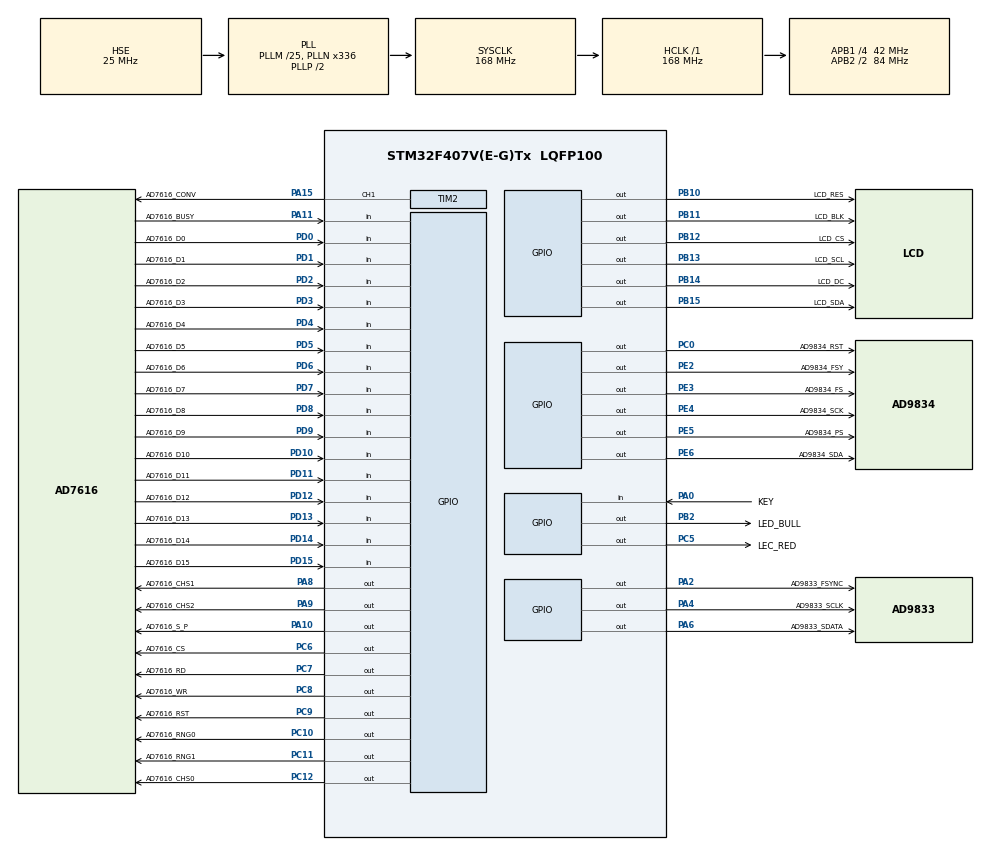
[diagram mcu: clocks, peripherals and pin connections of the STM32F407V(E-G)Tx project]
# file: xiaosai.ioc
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Mcu.Family=STM32F4
Mcu.Name=STM32F407V(E-G)Tx
Mcu.Package=LQFP100
NVIC.PriorityGroup=NVIC_PRIORITYGROUP_4
NVIC.TIM2_IRQn=true\:0\:0\:false\:false\:true\:true\:true\:true
PA0-WKUP.GPIO_Label=KEY
PA0-WKUP.Signal=GPIO_Input
PA10.GPIO_Label=AD7616_S_P
PA10.GPIO_Speed=GPIO_SPEED_FREQ_VERY_HIGH
PA10.Signal=GPIO_Output
PA11.GPIO_Label=AD7616_BUSY
PA11.Signal=GPIO_Input
PA13.Mode=Serial_Wire
PA13.Signal=SYS_JTMS-SWDIO
PA14.Mode=Serial_Wire
PA14.Signal=SYS_JTCK-SWCLK
PA15.GPIO_Label=AD7616_CONV
PA15.Signal=S_TIM2_CH1_ETR
PA2.GPIO_Label=AD9833_FSYNC
PA2.GPIO_Speed=GPIO_SPEED_FREQ_VERY_HIGH
PA2.Signal=GPIO_Output
PA4.GPIO_Label=AD9833_SCLK
PA4.GPIO_Speed=GPIO_SPEED_FREQ_VERY_HIGH
PA4.Signal=GPIO_Output
PA6.GPIO_Label=AD9833_SDATA
PA6.GPIO_Speed=GPIO_SPEED_FREQ_VERY_HIGH
PA6.Signal=GPIO_Output
PA8.GPIO_Label=AD7616_CHS1
PA8.GPIO_Speed=GPIO_SPEED_FREQ_VERY_HIGH
PA8.Signal=GPIO_Output
PA9.GPIO_Label=AD7616_CHS2
PA9.GPIO_Speed=GPIO_SPEED_FREQ_VERY_HIGH
PA9.Signal=GPIO_Output
PB10.GPIO_Label=LCD_RES
PB10.GPIO_Speed=GPIO_SPEED_FREQ_VERY_HIGH
PB10.Signal=GPIO_Output
PB11.GPIO_Label=LCD_BLK
PB11.GPIO_Speed=GPIO_SPEED_FREQ_VERY_HIGH
PB11.Signal=GPIO_Output
PB12.GPIO_Label=LCD_CS
PB12.GPIO_Speed=GPIO_SPEED_FREQ_VERY_HIGH
PB12.Signal=GPIO_Output
PB13.GPIO_Label=LCD_SCL
PB13.GPIO_Speed=GPIO_SPEED_FREQ_VERY_HIGH
PB13.Signal=GPIO_Output
PB14.GPIO_Label=LCD_DC
PB14.GPIO_Speed=GPIO_SPEED_FREQ_VERY_HIGH
PB14.Signal=GPIO_Output
PB15.GPIO_Label=LCD_SDA
PB15.GPIO_Speed=GPIO_SPEED_FREQ_VERY_HIGH
PB15.Signal=GPIO_Output
PB2.GPIO_Label=LED_BULL
PB2.GPIO_Speed=GPIO_SPEED_FREQ_VERY_HIGH
PB2.Signal=GPIO_Output
PC0.GPIO_Label=AD9834_RST
PC0.GPIO_Speed=GPIO_SPEED_FREQ_VERY_HIGH
PC0.Signal=GPIO_Output
PC10.GPIO_Label=AD7616_RNG0
PC10.GPIO_Speed=GPIO_SPEED_FREQ_VERY_HIGH
PC10.Signal=GPIO_Output
PC11.GPIO_Label=AD7616_RNG1
PC11.GPIO_Speed=GPIO_SPEED_FREQ_VERY_HIGH
PC11.Signal=GPIO_Output
PC12.GPIO_Label=AD7616_CHS0
PC12.GPIO_Speed=GPIO_SPEED_FREQ_VERY_HIGH
PC12.Signal=GPIO_Output
PC5.GPIO_Label=LEC_RED
PC5.GPIO_Speed=GPIO_SPEED_FREQ_VERY_HIGH
PC5.Signal=GPIO_Output
PC6.GPIO_Label=AD7616_CS
PC6.GPIO_Speed=GPIO_SPEED_FREQ_VERY_HIGH
PC6.Signal=GPIO_Output
PC7.GPIO_Label=AD7616_RD
PC7.GPIO_Speed=GPIO_SPEED_FREQ_VERY_HIGH
PC7.Signal=GPIO_Output
PC8.GPIO_Label=AD7616_WR
PC8.GPIO_Speed=GPIO_SPEED_FREQ_VERY_HIGH
PC8.Signal=GPIO_Output
PC9.GPIO_Label=AD7616_RST
PC9.GPIO_Speed=GPIO_SPEED_FREQ_VERY_HIGH
PC9.Signal=GPIO_Output
PD0.GPIO_Label=AD7616_D0
PD0.Signal=GPIO_Input
PD1.GPIO_Label=AD7616_D1
PD1.Signal=GPIO_Input
PD10.GPIO_Label=AD7616_D10
PD10.Signal=GPIO_Input
PD11.GPIO_Label=AD7616_D11
PD11.Signal=GPIO_Input
PD12.GPIO_Label=AD7616_D12
PD12.Signal=GPIO_Input
PD13.GPIO_Label=AD7616_D13
PD13.Signal=GPIO_Input
PD14.GPIO_Label=AD7616_D14
PD14.Signal=GPIO_Input
PD15.GPIO_Label=AD7616_D15
PD15.Signal=GPIO_Input
PD2.GPIO_Label=AD7616_D2
PD2.Signal=GPIO_Input
PD3.GPIO_Label=AD7616_D3
PD3.Signal=GPIO_Input
PD4.GPIO_Label=AD7616_D4
PD4.Signal=GPIO_Input
PD5.GPIO_Label=AD7616_D5
PD5.Signal=GPIO_Input
PD6.GPIO_Label=AD7616_D6
PD6.Signal=GPIO_Input
PD7.GPIO_Label=AD7616_D7
PD7.Signal=GPIO_Input
PD8.GPIO_Label=AD7616_D8
PD8.Signal=GPIO_Input
PD9.GPIO_Label=AD7616_D9
PD9.Signal=GPIO_Input
PE2.GPIO_Label=AD9834_FSY
PE2.GPIO_Speed=GPIO_SPEED_FREQ_VERY_HIGH
PE2.Signal=GPIO_Output
PE3.GPIO_Label=AD9834_FS
PE3.GPIO_Speed=GPIO_SPEED_FREQ_VERY_HIGH
PE3.Signal=GPIO_Output
PE4.GPIO_Label=AD9834_SCK
PE4.GPIO_Speed=GPIO_SPEED_FREQ_VERY_HIGH
PE4.Signal=GPIO_Output
PE5.GPIO_Label=AD9834_PS
PE5.GPIO_Speed=GPIO_SPEED_FREQ_VERY_HIGH
PE5.Signal=GPIO_Output
PE6.GPIO_Label=AD9834_SDA
PE6.GPIO_Speed=GPIO_SPEED_FREQ_VERY_HIGH
PE6.Signal=GPIO_Output
PH0-OSC_IN.Mode=HSE-External-Oscillator
PH0-OSC_IN.Signal=RCC_OSC_IN
PH1-OSC_OUT.Mode=HSE-External-Oscillator
PH1-OSC_OUT.Signal=RCC_OSC_OUT
ProjectManager.HeapSize=0x200
ProjectManager.StackSize=0x400
ProjectManager.TargetToolchain=CMake
RCC.48MHZClocksFreq_Value=84000000
RCC.AHBFreq_Value=168000000
RCC.APB1CLKDivider=RCC_HCLK_DIV4
RCC.APB1Freq_Value=42000000
RCC.APB1TimFreq_Value=84000000
RCC.APB2CLKDivider=RCC_HCLK_DIV2
RCC.APB2Freq_Value=84000000
RCC.APB2TimFreq_Value=168000000
RCC.CortexFreq_Value=168000000
RCC.HCLKFreq_Value=168000000
RCC.HSE_VALUE=25000000
RCC.HSI_VALUE=16000000
RCC.LSE_VALUE=32768
RCC.PLLM=25
RCC.PLLN=336
RCC.PLLSourceVirtual=RCC_PLLSOURCE_HSE
RCC.SYSCLKFreq_VALUE=168000000
RCC.SYSCLKSource=RCC_SYSCLKSOURCE_PLLCLK
RCC.VCOOutputFreq_Value=336000000
SH.S_TIM2_CH1_ETR.0=TIM2_CH1,PWM Generation1 CH1
TIM2.Channel-PWM\ Generation1\ CH1=TIM_CHANNEL_1
TIM2.Period=167
TIM2.Pulse-PWM\ Generation1\ CH1=83
VP_TIM2_VS_ClockSourceINT.Mode=Internal
board=custom

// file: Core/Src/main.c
/* USER CODE BEGIN Header */
/**
  ******************************************************************************
  * @file           : main.c
  * @brief          : Main program body
  ******************************************************************************
  * @attention
  *
  * Copyright (c) 2026 STMicroelectronics.
  * All rights reserved.
  *
  * This software is licensed under terms that can be found in the LICENSE file
  * in the root directory of this software component.
  * If no LICENSE file comes with this software, it is provided AS-IS.
  *
  ******************************************************************************
  */
/* USER CODE END Header */
#include "main.h"

/* USER CODE BEGIN Includes */

#include <math.h>
#include <stdbool.h>
#include <string.h>

#include "ad7616.h"
#include "delay.h"
#include "dsp_process.h"
#include "lcd_ui.h"
#include "signal_output.h"

/* USER CODE END Includes */

/* USER CODE BEGIN PTD */

typedef enum
{
  APP_STATE_IDLE = 0,
  APP_STATE_ACQUIRE,
  APP_STATE_ANALYZE,
  APP_STATE_OUTPUT,
  APP_STATE_ERROR
} AppState_t;

typedef enum
{
  APP_SCENE_UNKNOWN = 0,
  APP_SCENE_BASIC_SINE_50K_100K,
  APP_SCENE_ADVANCED_SINE_10K_GRID,
  APP_SCENE_ADVANCED_MIXED_5K_GRID,
  APP_SCENE_GENERIC
} AppScene_t;

typedef struct
{
  bool valid;
  uint32_t freq_hz;
  DSP_WaveformType_t wave_type;
  float vpp;
} AppSeparatedSignal_t;

typedef struct
{
  bool valid;
  bool locked;
  bool dual_output_required;
  bool dual_output_supported;
  bool degraded_output;
  uint32_t lock_tick;
  AppScene_t scene;
  AppSeparatedSignal_t signal_a;
  AppSeparatedSignal_t signal_b;
} AppSplitPlan_t;

/* USER CODE END PTD */

/* USER CODE BEGIN PD */

/*
 * 实际采样率 = TIM2_CLK / (Period + 1) = 84MHz / 168 = 500kHz
 * 注意：APB1=42MHz，定时器时钟 ×2 = 84MHz。Period=167 不是 1MHz！
 */
#define APP_SAMPLE_RATE_HZ             500000.0f
#define APP_RESTART_DELAY_MS           3000U
#define APP_MAX_SEPARATION_TIME_MS     20000U
#define APP_LOCK_VALID_MS              5000U
#define APP_FREQ_MATCH_TOLERANCE_HZ    800.0f
#define APP_GRID_10K_HZ                10000.0f
#define APP_GRID_5K_HZ                 5000.0f
#define APP_LED_ON                     GPIO_PIN_RESET
#define APP_LED_OFF                    GPIO_PIN_SET

/* USER CODE END PD */

TIM_HandleTypeDef htim2;

/* USER CODE BEGIN PV */

static AppState_t g_app_state = APP_STATE_IDLE;
int16_t g_sample_buffer[DSP_FFT_SIZE] __attribute__((aligned(4)));
volatile uint32_t g_capture_index = 0U;
volatile bool g_capture_complete = false;
volatile bool g_capture_error = false;
static AppSplitPlan_t g_split_plan;
static float g_requested_vpp = SIGNAL_OUTPUT_FULL_SCALE_VPP;
static uint32_t g_next_capture_tick = 0U;
static uint32_t g_task_start_tick = 0U;
static const char *g_last_error_message = "SEARCHING";

/* USER CODE END PV */

void SystemClock_Config(void);
static void MX_GPIO_Init(void);
static void MX_TIM2_Init(void);
/* USER CODE BEGIN PFP */

static void App_Init(void);
static void App_SetStatusLeds(bool busy, bool error);
static void App_StartCaptureTimer(void);
static void App_StopCaptureTimer(void);
static HAL_StatusTypeDef App_CaptureFrame(void);
static HAL_StatusTypeDef App_ProcessFrame(void);
static bool App_IsNearFrequency(float value_hz, float target_hz);
static bool App_IsGridMultiple(float value_hz, float step_hz);
static const SignalComponent_t *App_GetLowerFrequencyComponent(const SignalAnalysisResult_t *analysis);
static const SignalComponent_t *App_GetHigherFrequencyComponent(const SignalAnalysisResult_t *analysis);
static DSP_WaveformType_t App_NormalizeOutputWaveform(DSP_WaveformType_t wave_type);
static AppScene_t App_ClassifyScene(const SignalAnalysisResult_t *analysis);
static HAL_StatusTypeDef App_UpdateSplitPlan(void);
static HAL_StatusTypeDef App_ApplyOutputPlan(void);
static bool App_IsTaskTimeout(void);
static bool App_IsSplitPlanFresh(void);

/* USER CODE END PFP */

/* USER CODE BEGIN 0 */

void HAL_TIM_PeriodElapsedCallback(TIM_HandleTypeDef *htim)
{
  /*
   * TIM2 runs at 500 kHz for AD7616 sampling and is handled directly in
   * TIM2_IRQHandler() to avoid HAL callback overhead. Keep this callback empty
   * so a future HAL path cannot duplicate samples.
   */
  (void)htim;
}

static bool App_IsNearFrequency(float value_hz, float target_hz)
{
  return fabsf(value_hz - target_hz) <= APP_FREQ_MATCH_TOLERANCE_HZ;
}

static bool App_IsGridMultiple(float value_hz, float step_hz)
{
  float remainder;
  float distance;

  if (step_hz <= 0.0f)
  {
    return false;
  }

  remainder = fmodf(value_hz, step_hz);
  if (remainder < 0.0f)
  {
    remainder = -remainder;
  }

  distance = remainder;
  if ((step_hz - remainder) < distance)
  {
    distance = step_hz - remainder;
  }

  return distance <= APP_FREQ_MATCH_TOLERANCE_HZ;
}

static const SignalComponent_t *App_GetLowerFrequencyComponent(const SignalAnalysisResult_t *analysis)
{
  if ((analysis == NULL) || !analysis->primary.valid || !analysis->secondary.valid)
  {
    return NULL;
  }

  if (analysis->primary.frequency_hz <= analysis->secondary.frequency_hz)
  {
    return &analysis->primary;
  }

  return &analysis->secondary;
}

static const SignalComponent_t *App_GetHigherFrequencyComponent(const SignalAnalysisResult_t *analysis)
{
  if ((analysis == NULL) || !analysis->primary.valid || !analysis->secondary.valid)
  {
    return NULL;
  }

  if (analysis->primary.frequency_hz > analysis->secondary.frequency_hz)
  {
    return &analysis->primary;
  }

  return &analysis->secondary;
}

static DSP_WaveformType_t App_NormalizeOutputWaveform(DSP_WaveformType_t wave_type)
{
  switch (wave_type)
  {
  case DSP_WAVE_SINE:
  case DSP_WAVE_TRIANGLE:
  case DSP_WAVE_SQUARE:
    return wave_type;
  case DSP_WAVE_UNKNOWN:
  default:
    return DSP_WAVE_SINE;
  }
}

static AppScene_t App_ClassifyScene(const SignalAnalysisResult_t *analysis)
{
  const SignalComponent_t *signal_a = App_GetLowerFrequencyComponent(analysis);
  const SignalComponent_t *signal_b = App_GetHigherFrequencyComponent(analysis);

  if ((signal_a == NULL) || (signal_b == NULL))
  {
    return APP_SCENE_UNKNOWN;
  }

  if ((signal_a->frequency_hz < DSP_MIN_ANALYSIS_FREQ_HZ) ||
      (signal_b->frequency_hz > DSP_MAX_ANALYSIS_FREQ_HZ))
  {
    return APP_SCENE_UNKNOWN;
  }

  if (App_IsNearFrequency(signal_a->frequency_hz, 50000.0f) &&
      App_IsNearFrequency(signal_b->frequency_hz, 100000.0f))
  {
    return APP_SCENE_BASIC_SINE_50K_100K;
  }

  if ((signal_a->wave_type == DSP_WAVE_SINE) &&
      (signal_b->wave_type == DSP_WAVE_SINE) &&
      App_IsGridMultiple(signal_a->frequency_hz, APP_GRID_10K_HZ) &&
      App_IsGridMultiple(signal_b->frequency_hz, APP_GRID_10K_HZ))
  {
    return APP_SCENE_ADVANCED_SINE_10K_GRID;
  }

  if (((signal_a->wave_type == DSP_WAVE_SINE) || (signal_a->wave_type == DSP_WAVE_TRIANGLE)) &&
      ((signal_b->wave_type == DSP_WAVE_SINE) || (signal_b->wave_type == DSP_WAVE_TRIANGLE)) &&
      App_IsGridMultiple(signal_a->frequency_hz, APP_GRID_5K_HZ) &&
      App_IsGridMultiple(signal_b->frequency_hz, APP_GRID_5K_HZ))
  {
    return APP_SCENE_ADVANCED_MIXED_5K_GRID;
  }

  return APP_SCENE_GENERIC;
}

static bool App_IsTaskTimeout(void)
{
  return (!g_split_plan.locked) && ((HAL_GetTick() - g_task_start_tick) > APP_MAX_SEPARATION_TIME_MS);
}

static bool App_IsSplitPlanFresh(void)
{
  return g_split_plan.locked && ((HAL_GetTick() - g_split_plan.lock_tick) <= APP_LOCK_VALID_MS);
}

/**
 * 频率栅格吸附：将 FFT 估计值四舍五入到最近的 grid_hz 整数倍。
 *
 * FFT 在 500kSPS/2048 点下 bin 间隔 ≈ 244Hz，即使抛物线插值仍有
 * 几十到几百 Hz 误差。题目频率是 10kHz 或 5kHz 整数倍，吸附后
 * 输出与原信号精确同频，示波器上不漂移。
 *
 * 吸附容差：APP_FREQ_MATCH_TOLERANCE_HZ (800Hz)。
 * 超出容差则原样返回（不吸附）。
 */
static uint32_t App_SnapToGrid(float freq_hz, float grid_hz)
{
  float rounded;

  if (grid_hz <= 0.0f)
  {
    return (uint32_t)(freq_hz + 0.5f);
  }

  rounded = roundf(freq_hz / grid_hz) * grid_hz;

  if (fabsf(rounded - freq_hz) <= APP_FREQ_MATCH_TOLERANCE_HZ)
  {
    return (uint32_t)(rounded + 0.5f);
  }

  return (uint32_t)(freq_hz + 0.5f);
}

static void App_Init(void)
{
  memset(&g_split_plan, 0, sizeof(g_split_plan));
  delay_init(HAL_RCC_GetSysClockFreq());
  AD7616_Init(HARDWARE_MODE);
  AD7616_Reset();
  AD7616_Parallel_Set_voltage(Range_5_V);
  AD7616_Parallel_Channel_Select(0U);

  Signal_Output_Init();
  DSP_Process_Init();
  LCD_UI_Init();
  App_SetStatusLeds(false, false);
  g_task_start_tick = HAL_GetTick();
  g_next_capture_tick = g_task_start_tick;
  g_last_error_message = "SEARCHING";
}

static void App_SetStatusLeds(bool busy, bool error)
{
  HAL_GPIO_WritePin(LED_BULL_GPIO_Port, LED_BULL_Pin, busy ? APP_LED_ON : APP_LED_OFF);
  HAL_GPIO_WritePin(LEC_RED_GPIO_Port, LEC_RED_Pin, error ? APP_LED_ON : APP_LED_OFF);
}

static void App_StartCaptureTimer(void)
{
  TIM2->DIER &= (uint32_t)~TIM_DIER_UIE;
  TIM2->CR1 &= (uint32_t)~TIM_CR1_CEN;
  TIM2->CCER &= (uint32_t)~TIM_CCER_CC1E;
  TIM2->CNT = 0U;
  TIM2->EGR = TIM_EGR_UG;
  TIM2->SR = 0U;
  TIM2->CCER |= TIM_CCER_CC1E;
  TIM2->DIER |= TIM_DIER_UIE;
  TIM2->CR1 |= TIM_CR1_CEN;
}

static void App_StopCaptureTimer(void)
{
  TIM2->DIER &= (uint32_t)~TIM_DIER_UIE;
  TIM2->CR1 &= (uint32_t)~TIM_CR1_CEN;
  TIM2->CCER &= (uint32_t)~TIM_CCER_CC1E;
  TIM2->SR = 0U;
}

static HAL_StatusTypeDef App_CaptureFrame(void)
{
  /*
   * 信号采集模块入口：TIM2 中断驱动的 500kSPS 采集。
   *
   * TIM2 PWM 自动在 PA15 产生 500kHz CONV 脉冲，无需软件控制。
   * TIM2 Update 中断在每次 CONV↓ ~1μs 后触发（转换已完成）：
   *   1. CS↓ + RD↓ 拉低控制线
   *   2. 读 GPIOD->IDR 获取 16 位数据
   *   3. RD↑ + CS↑ 恢复总线
   * 当采集满 2048 点后，g_capture_complete = true，停止 TIM2。
   */
  /* Keep the LCD on the single result page; do not show an acquiring page. */
  App_SetStatusLeds(true, false);

  g_capture_index = 0U;
  g_capture_complete = false;
  g_capture_error = false;
  __DMB();

  /* 启动 TIM2 PWM → PA15 自动产生 CONV 脉冲 */
  App_StartCaptureTimer();

  /* 等待采集完成（TIM2 中断填满 buffer 后置位标志） */
  {
    uint32_t wait_start = HAL_GetTick();
    while (true)
    {
      __DMB();
      if (g_capture_complete)
      {
        break;
      }

      if ((HAL_GetTick() - wait_start) > 100U) /* 超时 100ms（2048 点约 4.1ms） */
      {
        App_StopCaptureTimer();
        g_last_error_message = "CAPTURE TIMEOUT";
        return HAL_TIMEOUT;
      }
    }
  }

  /* 停止 TIM2 */
  App_StopCaptureTimer();

  __DMB();
  if (g_capture_error)
  {
    g_last_error_message = "ADC BUSY TIMEOUT";
    return HAL_ERROR;
  }

  return HAL_OK;
}

static HAL_StatusTypeDef App_ProcessFrame(void)
{
  /* 算法处理模块入口：在此完成 FFT、谱峰搜索、场景识别和分离决策。 */
  return DSP_ProcessSamples(g_sample_buffer, DSP_FFT_SIZE, APP_SAMPLE_RATE_HZ);
}

static HAL_StatusTypeDef App_UpdateSplitPlan(void)
{
  AppSplitPlan_t next_plan;
  const SignalAnalysisResult_t *analysis = DSP_GetLastAnalysis();
  const SignalComponent_t *signal_a = App_GetLowerFrequencyComponent(analysis);
  const SignalComponent_t *signal_b = App_GetHigherFrequencyComponent(analysis);

  memset(&next_plan, 0, sizeof(next_plan));

  if ((analysis == NULL) || !analysis->valid || (signal_a == NULL) || (signal_b == NULL))
  {
    g_last_error_message = "WAITING PEAKS";
    return HAL_BUSY;
  }

  next_plan.scene = App_ClassifyScene(analysis);
  if (next_plan.scene == APP_SCENE_UNKNOWN)
  {
    g_last_error_message = "SCENE UNSUPPORTED";
    return HAL_BUSY;
  }

  next_plan.valid = true;
  next_plan.locked = true;
  next_plan.dual_output_required = true;
  next_plan.dual_output_supported = true;
  next_plan.degraded_output = false;
  next_plan.lock_tick = HAL_GetTick();

  next_plan.signal_a.valid = true;
  next_plan.signal_a.wave_type = App_NormalizeOutputWaveform(signal_a->wave_type);
  next_plan.signal_a.vpp = g_requested_vpp;

  next_plan.signal_b.valid = true;
  next_plan.signal_b.wave_type = App_NormalizeOutputWaveform(signal_b->wave_type);
  next_plan.signal_b.vpp = g_requested_vpp;

  /*
   * 频率栅格吸附：根据识别的场景将 FFT 估计值锁定到精确栅格。
   * - 基本项(50k+100k)：吸附到 50kHz 和 100kHz
   * - 10kHz 栅格：吸附到 10kHz 整数倍
   * - 5kHz 栅格：吸附到 5kHz 整数倍
   * 消除 FFT 频率估计误差导致的示波器漂移。
   */
  switch (next_plan.scene)
  {
  case APP_SCENE_BASIC_SINE_50K_100K:
    next_plan.signal_a.freq_hz = 50000U;
    next_plan.signal_b.freq_hz = 100000U;
    break;
  case APP_SCENE_ADVANCED_SINE_10K_GRID:
    next_plan.signal_a.freq_hz = App_SnapToGrid(signal_a->frequency_hz, APP_GRID_10K_HZ);
    next_plan.signal_b.freq_hz = App_SnapToGrid(signal_b->frequency_hz, APP_GRID_10K_HZ);
    break;
  case APP_SCENE_ADVANCED_MIXED_5K_GRID:
    next_plan.signal_a.freq_hz = App_SnapToGrid(signal_a->frequency_hz, APP_GRID_5K_HZ);
    next_plan.signal_b.freq_hz = App_SnapToGrid(signal_b->frequency_hz, APP_GRID_5K_HZ);
    break;
  case APP_SCENE_GENERIC:
    next_plan.signal_a.freq_hz = (uint32_t)(signal_a->frequency_hz + 0.5f);
    next_plan.signal_b.freq_hz = (uint32_t)(signal_b->frequency_hz + 0.5f);
    break;
  default:
    next_plan.signal_a.freq_hz = (uint32_t)(signal_a->frequency_hz + 0.5f);
    next_plan.signal_b.freq_hz = (uint32_t)(signal_b->frequency_hz + 0.5f);
    break;
  }

  g_split_plan = next_plan;
  g_last_error_message = "DUAL OUTPUT OK";
  return HAL_OK;
}

static HAL_StatusTypeDef App_ApplyOutputPlan(void)
{
  /* 信号输出模块入口：在此根据分离结果驱动两片 DDS 同时输出 A' 和 B'。 */
  if (!g_split_plan.valid || !g_split_plan.signal_a.valid || !g_split_plan.signal_b.valid)
  {
    return HAL_ERROR;
  }

  /*
   * 双路 DDS 同时输出：
   *   AD9833 输出信号 A'（低频分量）
   *   AD9834 输出信号 B'（高频分量）
   * Set_Waveform_Output 内部根据频率自动选择合适的 DDS 芯片。
   * 这里强制指定：AD9833 走低频，AD9834 走高频。
   */
  if (!Set_Waveform_Output(g_split_plan.signal_a.freq_hz,
                           (uint8_t)g_split_plan.signal_a.wave_type,
                           g_split_plan.signal_a.vpp))
  {
    g_last_error_message = "DDS-A FAIL";
    return HAL_ERROR;
  }

  if (!Set_Waveform_Output_Dual(g_split_plan.signal_b.freq_hz,
                                (uint8_t)g_split_plan.signal_b.wave_type,
                                g_split_plan.signal_b.vpp))
  {
    g_last_error_message = "DDS-B FAIL";
    return HAL_ERROR;
  }

  return HAL_OK;
}

/* USER CODE END 0 */

int main(void)
{

  /* MCU Configuration--------------------------------------------------------*/

  /* Reset of all peripherals, Initializes the Flash interface and the Systick. */
  HAL_Init();

  /* Configure the system clock */
  SystemClock_Config();

  /* Initialize all configured peripherals */
  MX_GPIO_Init();
  MX_TIM2_Init();
  /* USER CODE BEGIN 2 */

  App_Init();

  /* USER CODE END 2 */

  /* Infinite loop */
  while (1)
  {

    /* USER CODE BEGIN 3 */
    switch (g_app_state)
    {
    case APP_STATE_IDLE:
      if ((int32_t)(HAL_GetTick() - g_next_capture_tick) >= 0)
      {
        g_app_state = APP_STATE_ACQUIRE;
      }
      break;

    case APP_STATE_ACQUIRE:
      if (App_CaptureFrame() == HAL_OK)
      {
        g_app_state = APP_STATE_ANALYZE;
      }
      else
      {
        g_app_state = APP_STATE_ERROR;
      }
      break;

    case APP_STATE_ANALYZE:
      if (App_ProcessFrame() == HAL_OK)
      {
        HAL_StatusTypeDef plan_status = App_UpdateSplitPlan();

        if ((plan_status == HAL_OK) || App_IsSplitPlanFresh())
        {
          g_app_state = APP_STATE_OUTPUT;
        }
        else if (App_IsTaskTimeout())
        {
          g_last_error_message = "TIMEOUT >20S";
          g_app_state = APP_STATE_ERROR;
        }
        else
        {
          g_next_capture_tick = HAL_GetTick() + APP_RESTART_DELAY_MS;
          g_app_state = APP_STATE_IDLE;
        }
      }
      else
      {
        g_app_state = APP_STATE_ERROR;
      }
      break;

    case APP_STATE_OUTPUT:
    {
      LCD_SplitResult_t lcd_result;

      if (App_ApplyOutputPlan() != HAL_OK)
      {
        g_last_error_message = "DDS OUTPUT FAIL";
        g_app_state = APP_STATE_ERROR;
        break;
      }

      /* 填充 LCD 显示数据：输入端检测结果 + DDS 输出端实际值 */
      lcd_result.valid = true;
      lcd_result.input_a.valid = g_split_plan.signal_a.valid;
      lcd_result.input_a.freq_hz = g_split_plan.signal_a.freq_hz;
      lcd_result.input_a.wave_type = g_split_plan.signal_a.wave_type;
      lcd_result.input_b.valid = g_split_plan.signal_b.valid;
      lcd_result.input_b.freq_hz = g_split_plan.signal_b.freq_hz;
      lcd_result.input_b.wave_type = g_split_plan.signal_b.wave_type;
      lcd_result.dds_a.valid = true;
      lcd_result.dds_a.freq_hz = g_split_plan.signal_a.freq_hz;
      lcd_result.dds_a.wave_type = g_split_plan.signal_a.wave_type;
      lcd_result.dds_b.valid = true;
      lcd_result.dds_b.freq_hz = g_split_plan.signal_b.freq_hz;
      lcd_result.dds_b.wave_type = g_split_plan.signal_b.wave_type;

      LCD_UI_ShowSplitResult(&lcd_result);
      App_SetStatusLeds(false, false);
      g_next_capture_tick = HAL_GetTick() + APP_RESTART_DELAY_MS;
      g_app_state = APP_STATE_IDLE;
      break;
    }

    case APP_STATE_ERROR:
      LCD_UI_ShowError(g_last_error_message);
      App_SetStatusLeds(false, true);
      g_next_capture_tick = HAL_GetTick() + APP_RESTART_DELAY_MS;
      delay_ms(200U);
      g_app_state = APP_STATE_IDLE;
      break;

    default:
      g_app_state = APP_STATE_IDLE;
      break;
    }
  }
  /* USER CODE END 3 */
}

void SystemClock_Config(void)
{
  RCC_OscInitTypeDef RCC_OscInitStruct = {0};
  RCC_ClkInitTypeDef RCC_ClkInitStruct = {0};

  /** Configure the main internal regulator output voltage
  */
  __HAL_RCC_PWR_CLK_ENABLE();
  __HAL_PWR_VOLTAGESCALING_CONFIG(PWR_REGULATOR_VOLTAGE_SCALE1);

  /** Initializes the RCC Oscillators according to the specified parameters
  * in the RCC_OscInitTypeDef structure.
  */
  RCC_OscInitStruct.OscillatorType = RCC_OSCILLATORTYPE_HSE;
  RCC_OscInitStruct.HSEState = RCC_HSE_ON;
  RCC_OscInitStruct.PLL.PLLState = RCC_PLL_ON;
  RCC_OscInitStruct.PLL.PLLSource = RCC_PLLSOURCE_HSE;
  RCC_OscInitStruct.PLL.PLLM = 25;
  RCC_OscInitStruct.PLL.PLLN = 336;
  RCC_OscInitStruct.PLL.PLLP = RCC_PLLP_DIV2;
  RCC_OscInitStruct.PLL.PLLQ = 4;
  if (HAL_RCC_OscConfig(&RCC_OscInitStruct) != HAL_OK)
  {
    Error_Handler();
  }

  /** Initializes the CPU, AHB and APB buses clocks
  */
  RCC_ClkInitStruct.ClockType = RCC_CLOCKTYPE_HCLK|RCC_CLOCKTYPE_SYSCLK
                              |RCC_CLOCKTYPE_PCLK1|RCC_CLOCKTYPE_PCLK2;
  RCC_ClkInitStruct.SYSCLKSource = RCC_SYSCLKSOURCE_PLLCLK;
  RCC_ClkInitStruct.AHBCLKDivider = RCC_SYSCLK_DIV1;
  RCC_ClkInitStruct.APB1CLKDivider = RCC_HCLK_DIV4;
  RCC_ClkInitStruct.APB2CLKDivider = RCC_HCLK_DIV2;

  if (HAL_RCC_ClockConfig(&RCC_ClkInitStruct, FLASH_LATENCY_5) != HAL_OK)
  {
    Error_Handler();
  }
}

static void MX_TIM2_Init(void)
{

  TIM_ClockConfigTypeDef sClockSourceConfig = {0};
  TIM_MasterConfigTypeDef sMasterConfig = {0};
  TIM_OC_InitTypeDef sConfigOC = {0};

  htim2.Instance = TIM2;
  htim2.Init.Prescaler = 0;
  htim2.Init.CounterMode = TIM_COUNTERMODE_UP;
  htim2.Init.Period = 167;
  htim2.Init.ClockDivision = TIM_CLOCKDIVISION_DIV1;
  htim2.Init.AutoReloadPreload = TIM_AUTORELOAD_PRELOAD_DISABLE;
  if (HAL_TIM_Base_Init(&htim2) != HAL_OK)
  {
    Error_Handler();
  }
  sClockSourceConfig.ClockSource = TIM_CLOCKSOURCE_INTERNAL;
  if (HAL_TIM_ConfigClockSource(&htim2, &sClockSourceConfig) != HAL_OK)
  {
    Error_Handler();
  }
  if (HAL_TIM_PWM_Init(&htim2) != HAL_OK)
  {
    Error_Handler();
  }
  sMasterConfig.MasterOutputTrigger = TIM_TRGO_RESET;
  sMasterConfig.MasterSlaveMode = TIM_MASTERSLAVEMODE_DISABLE;
  if (HAL_TIMEx_MasterConfigSynchronization(&htim2, &sMasterConfig) != HAL_OK)
  {
    Error_Handler();
  }
  sConfigOC.OCMode = TIM_OCMODE_PWM1;
  sConfigOC.Pulse = 83;
  sConfigOC.OCPolarity = TIM_OCPOLARITY_HIGH;
  sConfigOC.OCFastMode = TIM_OCFAST_DISABLE;
  if (HAL_TIM_PWM_ConfigChannel(&htim2, &sConfigOC, TIM_CHANNEL_1) != HAL_OK)
  {
    Error_Handler();
  }
  HAL_TIM_MspPostInit(&htim2);

}

static void MX_GPIO_Init(void)
{
  GPIO_InitTypeDef GPIO_InitStruct = {0};

  /* GPIO Ports Clock Enable */
  __HAL_RCC_GPIOE_CLK_ENABLE();
  __HAL_RCC_GPIOH_CLK_ENABLE();
  __HAL_RCC_GPIOC_CLK_ENABLE();
  __HAL_RCC_GPIOA_CLK_ENABLE();
  __HAL_RCC_GPIOB_CLK_ENABLE();
  __HAL_RCC_GPIOD_CLK_ENABLE();

  /*Configure GPIO pin Output Level */
  HAL_GPIO_WritePin(GPIOE, AD9834_FSY_Pin|AD9834_FS_Pin|AD9834_SCK_Pin|AD9834_PS_Pin
                          |AD9834_SDA_Pin, GPIO_PIN_RESET);

  /*Configure GPIO pin Output Level */
  HAL_GPIO_WritePin(GPIOC, AD9834_RST_Pin|LEC_RED_Pin|AD7616_CS_Pin|AD7616_RD_Pin
                          |AD7616_WR_Pin|AD7616_RST_Pin|AD7616_RNG0_Pin|AD7616_RNG1_Pin
                          |AD7616_CHS0_Pin, GPIO_PIN_RESET);

  /*Configure GPIO pin Output Level */
  HAL_GPIO_WritePin(GPIOA, AD9833_FSYNC_Pin|AD9833_SCLK_Pin|AD9833_SDATA_Pin|AD7616_CHS1_Pin
                          |AD7616_CHS2_Pin|AD7616_S_P_Pin, GPIO_PIN_RESET);

  /*Configure GPIO pin Output Level */
  HAL_GPIO_WritePin(GPIOB, LED_BULL_Pin|LCD_RES_Pin|LCD_BLK_Pin|LCD_CS_Pin
                          |LCD_SCL_Pin|LCD_DC_Pin|LCD_SDA_Pin, GPIO_PIN_RESET);

  /*Configure GPIO pins : AD9834_FSY_Pin AD9834_FS_Pin AD9834_SCK_Pin AD9834_PS_Pin
                           AD9834_SDA_Pin */
  GPIO_InitStruct.Pin = AD9834_FSY_Pin|AD9834_FS_Pin|AD9834_SCK_Pin|AD9834_PS_Pin
                          |AD9834_SDA_Pin;
  GPIO_InitStruct.Mode = GPIO_MODE_OUTPUT_PP;
  GPIO_InitStruct.Pull = GPIO_NOPULL;
  GPIO_InitStruct.Speed = GPIO_SPEED_FREQ_VERY_HIGH;
  HAL_GPIO_Init(GPIOE, &GPIO_InitStruct);

  /*Configure GPIO pins : AD9834_RST_Pin LEC_RED_Pin AD7616_CS_Pin AD7616_RD_Pin
                           AD7616_WR_Pin AD7616_RST_Pin AD7616_RNG0_Pin AD7616_RNG1_Pin
                           AD7616_CHS0_Pin */
  GPIO_InitStruct.Pin = AD9834_RST_Pin|LEC_RED_Pin|AD7616_CS_Pin|AD7616_RD_Pin
                          |AD7616_WR_Pin|AD7616_RST_Pin|AD7616_RNG0_Pin|AD7616_RNG1_Pin
                          |AD7616_CHS0_Pin;
  GPIO_InitStruct.Mode = GPIO_MODE_OUTPUT_PP;
  GPIO_InitStruct.Pull = GPIO_NOPULL;
  GPIO_InitStruct.Speed = GPIO_SPEED_FREQ_VERY_HIGH;
  HAL_GPIO_Init(GPIOC, &GPIO_InitStruct);

  /*Configure GPIO pins : KEY_Pin AD7616_BUSY_Pin */
  GPIO_InitStruct.Pin = KEY_Pin|AD7616_BUSY_Pin;
  GPIO_InitStruct.Mode = GPIO_MODE_INPUT;
  GPIO_InitStruct.Pull = GPIO_NOPULL;
  HAL_GPIO_Init(GPIOA, &GPIO_InitStruct);

  /*Configure GPIO pins : AD9833_FSYNC_Pin AD9833_SCLK_Pin AD9833_SDATA_Pin AD7616_CHS1_Pin
                           AD7616_CHS2_Pin AD7616_S_P_Pin */
  GPIO_InitStruct.Pin = AD9833_FSYNC_Pin|AD9833_SCLK_Pin|AD9833_SDATA_Pin|AD7616_CHS1_Pin
                          |AD7616_CHS2_Pin|AD7616_S_P_Pin;
  GPIO_InitStruct.Mode = GPIO_MODE_OUTPUT_PP;
  GPIO_InitStruct.Pull = GPIO_NOPULL;
  GPIO_InitStruct.Speed = GPIO_SPEED_FREQ_VERY_HIGH;
  HAL_GPIO_Init(GPIOA, &GPIO_InitStruct);

  /*Configure GPIO pins : LED_BULL_Pin LCD_RES_Pin LCD_BLK_Pin LCD_CS_Pin
                           LCD_SCL_Pin LCD_DC_Pin LCD_SDA_Pin */
  GPIO_InitStruct.Pin = LED_BULL_Pin|LCD_RES_Pin|LCD_BLK_Pin|LCD_CS_Pin
                          |LCD_SCL_Pin|LCD_DC_Pin|LCD_SDA_Pin;
  GPIO_InitStruct.Mode = GPIO_MODE_OUTPUT_PP;
  GPIO_InitStruct.Pull = GPIO_NOPULL;
  GPIO_InitStruct.Speed = GPIO_SPEED_FREQ_VERY_HIGH;
  HAL_GPIO_Init(GPIOB, &GPIO_InitStruct);

  /*Configure GPIO pins : AD7616_D8_Pin AD7616_D9_Pin AD7616_D10_Pin AD7616_D11_Pin
                           AD7616_D12_Pin AD7616_D13_Pin AD7616_D14_Pin AD7616_D15_Pin
                           AD7616_D0_Pin AD7616_D1_Pin AD7616_D2_Pin AD7616_D3_Pin
                           AD7616_D4_Pin AD7616_D5_Pin AD7616_D6_Pin AD7616_D7_Pin */
  GPIO_InitStruct.Pin = AD7616_D8_Pin|AD7616_D9_Pin|AD7616_D10_Pin|AD7616_D11_Pin
                          |AD7616_D12_Pin|AD7616_D13_Pin|AD7616_D14_Pin|AD7616_D15_Pin
                          |AD7616_D0_Pin|AD7616_D1_Pin|AD7616_D2_Pin|AD7616_D3_Pin
                          |AD7616_D4_Pin|AD7616_D5_Pin|AD7616_D6_Pin|AD7616_D7_Pin;
  GPIO_InitStruct.Mode = GPIO_MODE_INPUT;
  GPIO_InitStruct.Pull = GPIO_NOPULL;
  HAL_GPIO_Init(GPIOD, &GPIO_InitStruct);

}

void Error_Handler(void)
{
  __disable_irq();
  while (1)
  {
  }
}
